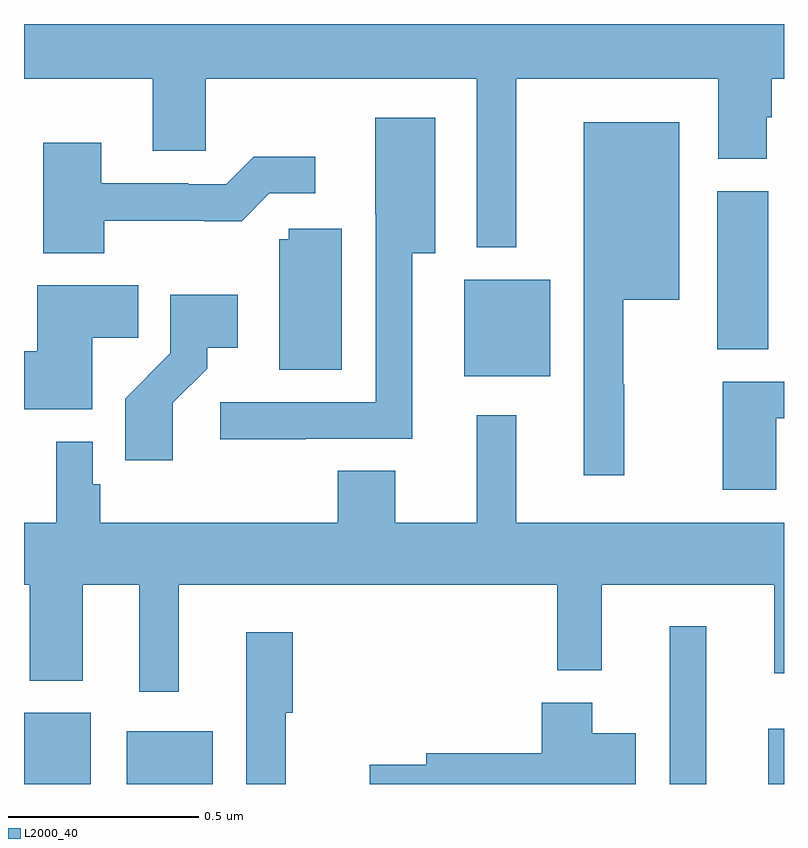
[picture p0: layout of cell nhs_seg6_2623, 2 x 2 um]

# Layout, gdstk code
import gdstk
lib = gdstk.Library(unit=1e-6, precision=1e-09)
def R(c, l, rs):  # rectangles x0, y0, x1, y1
    for r in rs: c.add(gdstk.rectangle(r[:2], r[2:], *l))
def P(c, l, *ps):  # polygons
    for p in ps: c.add(gdstk.Polygon(p, *l))
L2000_40 = (2000, 40)

nhs_seg6_2623 = lib.new_cell('nhs_seg6_2623')
R(nhs_seg6_2623, L2000_40, [(146,925.5,146.176,925.687), (146.27,925.5,146.497,925.639), (147.699,925.5,147.796,925.915), (147.959,925.5,148,925.645), (147.158,926.573,147.385,926.827), (147.824,926.644,147.958,927.06)])
P(nhs_seg6_2623, L2000_40, [(147.295,927.356),(147.827,927.356),(147.827,927.145),(147.955,927.145),(147.955,927.255),(147.968,927.255),(147.968,927.356),(148,927.356),(148,927.5),(146,927.5),(146,927.356),(146.339,927.356),(146.339,927.166),(146.478,927.166),(146.478,927.356),(147.191,927.356),(147.191,926.912),(147.295,926.912)],
  [(146.741,926.409),(147.022,926.409),(147.022,926.897),(147.082,926.897),(147.082,927.253),(146.924,927.253),(146.924,927.001),(146.925,927.001),(146.925,926.505),(146.517,926.505),(146.517,926.407),(146.741,926.407)],
  [(147.58,926.552),(147.577,926.552),(147.577,926.774),(147.724,926.774),(147.724,927.241),(147.473,927.241),(147.473,926.313),(147.58,926.313)],
  [(146.211,926.982),(146.474,926.982),(146.474,926.981),(146.573,926.981),(146.646,927.054),(146.767,927.054),(146.767,927.151),(146.605,927.151),(146.532,927.078),(146.432,927.078),(146.432,927.081),(146.203,927.081),(146.203,927.187),(146.051,927.187),(146.051,926.897),(146.211,926.897)],
  [(146.836,926.961),(146.697,926.961),(146.697,926.934),(146.672,926.934),(146.672,926.59),(146.836,926.59)],
  [(146.179,926.674),(146.3,926.674),(146.3,926.812),(146.035,926.812),(146.035,926.639),(146,926.639),(146,926.486),(146.179,926.486)],
  [(146.392,926.503),(146.482,926.593),(146.482,926.648),(146.563,926.648),(146.563,926.788),(146.385,926.788),(146.385,926.633),(146.266,926.514),(146.266,926.352),(146.392,926.352)],
  [(147.979,926.463),(148,926.463),(148,926.559),(147.839,926.559),(147.839,926.274),(147.979,926.274)],
  [(146.407,926.024),(147.403,926.024),(147.403,925.799),(147.521,925.799),(147.521,926.024),(147.974,926.024),(147.974,925.791),(148,925.791),(148,926.188),(147.295,926.188),(147.295,926.47),(147.191,926.47),(147.191,926.188),(146.977,926.188),(146.977,926.324),(146.825,926.324),(146.825,926.188),(146.201,926.188),(146.201,926.289),(146.181,926.289),(146.181,926.401),(146.085,926.401),(146.085,926.188),(146,926.188),(146,926.024),(146.015,926.024),(146.015,925.772),(146.155,925.772),(146.155,926.024),(146.303,926.024),(146.303,925.743),(146.407,925.743)],
  [(146.689,925.687),(146.707,925.687),(146.707,925.9),(146.585,925.9),(146.585,925.5),(146.689,925.5)],
  [(147.61,925.633),(147.496,925.633),(147.496,925.714),(147.362,925.714),(147.362,925.581),(147.059,925.581),(147.059,925.551),(146.91,925.551),(146.91,925.5),(147.61,925.5)])

lib.write_gds('nhs_seg6_2623.gds')
